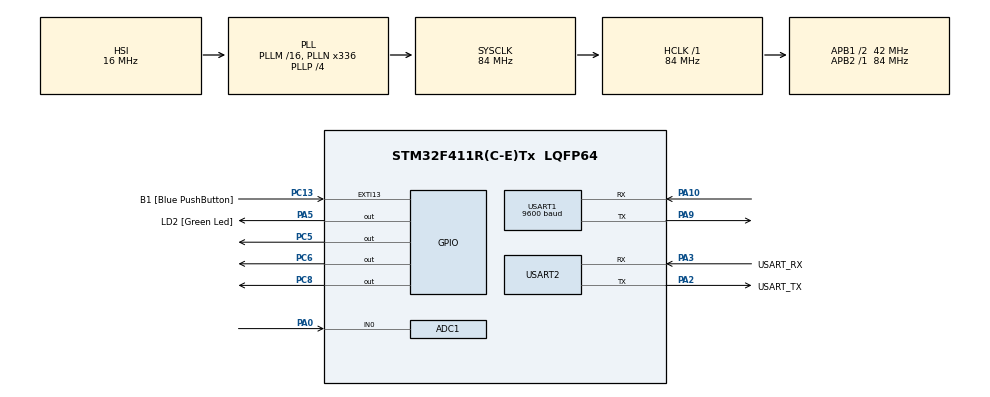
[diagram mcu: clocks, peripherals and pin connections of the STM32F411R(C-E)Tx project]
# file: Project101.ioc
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ADC1.Channel-0\#ChannelRegularConversion=ADC_CHANNEL_0
ADC1.NbrOfConversionFlag=1
ADC1.Rank-0\#ChannelRegularConversion=1
ADC1.SamplingTime-0\#ChannelRegularConversion=ADC_SAMPLETIME_3CYCLES
ADC1.master=1
Mcu.Family=STM32F4
Mcu.Name=STM32F411R(C-E)Tx
Mcu.Package=LQFP64
NVIC.PriorityGroup=NVIC_PRIORITYGROUP_0
PA0-WKUP.Signal=ADCx_IN0
PA10.Mode=Asynchronous
PA10.Signal=USART1_RX
PA13.GPIO_Label=TMS
PA13.Mode=Serial_Wire
PA13.Signal=SYS_JTMS-SWDIO
PA14.GPIO_Label=TCK
PA14.Mode=Serial_Wire
PA14.Signal=SYS_JTCK-SWCLK
PA2.GPIO_Label=USART_TX
PA2.Mode=Asynchronous
PA2.Signal=USART2_TX
PA3.GPIO_Label=USART_RX
PA3.Mode=Asynchronous
PA3.Signal=USART2_RX
PA5.GPIO_Label=LD2 [Green Led]
PA5.Signal=GPIO_Output
PA9.Mode=Asynchronous
PA9.Signal=USART1_TX
PB3.GPIO_Label=SWO
PB3.Signal=SYS_JTDO-SWO
PC13-ANTI_TAMP.GPIO_Label=B1 [Blue PushButton]
PC13-ANTI_TAMP.GPIO_ModeDefaultEXTI=GPIO_MODE_IT_FALLING
PC13-ANTI_TAMP.Signal=GPXTI13
PC14-OSC32_IN.Mode=LSE-External-Oscillator
PC14-OSC32_IN.Signal=RCC_OSC32_IN
PC15-OSC32_OUT.Mode=LSE-External-Oscillator
PC15-OSC32_OUT.Signal=RCC_OSC32_OUT
PC5.Signal=GPIO_Output
PC6.Signal=GPIO_Output
PC8.Signal=GPIO_Output
PH0\ -\ OSC_IN.Mode=HSE-External-Clock-Source
PH0\ -\ OSC_IN.Signal=RCC_OSC_IN
PH1\ -\ OSC_OUT.Mode=HSE-External-Clock-Source
PH1\ -\ OSC_OUT.Signal=RCC_OSC_OUT
ProjectManager.HeapSize=0x200
ProjectManager.StackSize=0x400
ProjectManager.TargetToolchain=STM32CubeIDE
RCC.48MHZClocksFreq_Value=84000000
RCC.AHBFreq_Value=84000000
RCC.APB1CLKDivider=RCC_HCLK_DIV2
RCC.APB1Freq_Value=42000000
RCC.APB1TimFreq_Value=84000000
RCC.APB2Freq_Value=84000000
RCC.APB2TimFreq_Value=84000000
RCC.CortexFreq_Value=84000000
RCC.FLatency-AdvancedSettings=FLASH_LATENCY_2
RCC.HCLKFreq_Value=84000000
RCC.HSE_VALUE=8000000
RCC.HSI_VALUE=16000000
RCC.PLLN=336
RCC.PLLP=RCC_PLLP_DIV4
RCC.SYSCLKFreq_VALUE=84000000
RCC.SYSCLKSource=RCC_SYSCLKSOURCE_PLLCLK
RCC.VCOOutputFreq_Value=336000000
SH.ADCx_IN0.0=ADC1_IN0,IN0
TIM1.Prescaler=84-1
USART1.BaudRate=9600
USART1.VirtualMode=VM_ASYNC
USART2.VirtualMode=VM_ASYNC
VP_TIM1_VS_ClockSourceINT.Mode=Internal
board=NUCLEO-F411RE

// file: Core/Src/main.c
/* USER CODE BEGIN Header */
/**
 ******************************************************************************
 * @file           : main.c
 * @brief          : Main program body
 ******************************************************************************
 * @attention
 *
 * Copyright (c) 2023 STMicroelectronics.
 * All rights reserved.
 *
 * This software is licensed under terms that can be found in the LICENSE file
 * in the root directory of this software component.
 * If no LICENSE file comes with this software, it is provided AS-IS.
 *
 ******************************************************************************
 */
/* USER CODE END Header */
#include "main.h"

ADC_HandleTypeDef hadc1;

TIM_HandleTypeDef htim1;

UART_HandleTypeDef huart1;
UART_HandleTypeDef huart2;

void SystemClock_Config(void);
static void MX_GPIO_Init(void);
static void MX_USART2_UART_Init(void);
static void MX_ADC1_Init(void);
static void MX_USART1_UART_Init(void);
static void MX_TIM1_Init(void);

/* USER CODE BEGIN 0 */
uint8_t h1, h2, t1, t2, response = 0;
uint16_t s, h, t;
int touch = 0, temp, humid, ldr;
uint32_t start;
#define DHT11_PORT GPIOA
#define DHT11_PIN GPIO_PIN_4

void delay(uint16_t time) {
	__HAL_TIM_SET_COUNTER(&htim1, 0);
	while (__HAL_TIM_GET_COUNTER(&htim1) < time)
		;
}

char str[10] = { 0 };

void Set_Pin_Output(GPIO_TypeDef *GPIOx, uint16_t GPIO_Pin) {
	GPIO_InitTypeDef GPIO_InitStruct = { 0 };
	GPIO_InitStruct.Pin = GPIO_Pin;
	GPIO_InitStruct.Mode = GPIO_MODE_OUTPUT_PP;
	GPIO_InitStruct.Speed = GPIO_SPEED_FREQ_LOW;
	HAL_GPIO_Init(GPIOx, &GPIO_InitStruct);
}

void Set_Pin_Input(GPIO_TypeDef *GPIOx, uint16_t GPIO_Pin) {
	GPIO_InitTypeDef GPIO_InitStruct = { 0 };
	GPIO_InitStruct.Pin = GPIO_Pin;
	GPIO_InitStruct.Mode = GPIO_MODE_INPUT;
	GPIO_InitStruct.Pull = GPIO_PULLUP;
	HAL_GPIO_Init(GPIOx, &GPIO_InitStruct);
}

void DHT11_Start(void) {
	Set_Pin_Output(DHT11_PORT, DHT11_PIN);  // set the pin as output
	HAL_GPIO_WritePin(DHT11_PORT, DHT11_PIN, 0);   // pull the pin low
	delay(18000);   // wait for 18ms
	HAL_GPIO_WritePin(DHT11_PORT, DHT11_PIN, 1);   // pull the pin high
	delay(20);  // wait for 20us
	Set_Pin_Input(DHT11_PORT, DHT11_PIN);    // set as input
}

uint8_t Check_Response(void) {
	uint8_t Response = 0;
	delay(40);
	if (!(HAL_GPIO_ReadPin(DHT11_PORT, DHT11_PIN))) {
		delay(80);
		if ((HAL_GPIO_ReadPin(DHT11_PORT, DHT11_PIN)))
			Response = 1;
		else
			Response = -1;
	}
	while ((HAL_GPIO_ReadPin(DHT11_PORT, DHT11_PIN)))
		;   // wait for the pin to go low

	return Response;
}

uint8_t DHT11_Read(void) {
	uint8_t i, j;
	for (j = 0; j < 8; j++) {
		while (!(HAL_GPIO_ReadPin(DHT11_PORT, DHT11_PIN)))
			;   // wait for the pin to go high
		delay(40);   // wait for 40 us
		if (!(HAL_GPIO_ReadPin(DHT11_PORT, DHT11_PIN)))   // if the pin is low
		{
			i &= ~(1 << (7 - j));   // write 0
		} else
			i |= (1 << (7 - j));  // if the pin is high, write 1
		while ((HAL_GPIO_ReadPin(DHT11_PORT, DHT11_PIN)))
			;  // wait for the pin to go low
	}
	return i;
}

void check_state(int temp, int humid){
	HAL_GPIO_WritePin(GPIOC, GPIO_PIN_8, GPIO_PIN_RESET);
	HAL_GPIO_WritePin(GPIOC, GPIO_PIN_6, GPIO_PIN_RESET);
	HAL_GPIO_WritePin(GPIOC, GPIO_PIN_5, GPIO_PIN_RESET);
	int state = 0;
	if(temp >= 40) state += 1;
	if(humid >= 30 && humid <= 50) state += 1;
//	char s[1];
//	sprintf(s, "%d", state);
//	HAL_UART_Transmit(&huart2, &s, 1, HAL_MAX_DELAY);
//	HAL_UART_Transmit(&huart2, 'OK', 2, HAL_MAX_DELAY);
	if(state == 0) HAL_GPIO_WritePin(GPIOC, GPIO_PIN_8, GPIO_PIN_SET);
	if(state == 1) HAL_GPIO_WritePin(GPIOC, GPIO_PIN_6, GPIO_PIN_SET);
	if(state == 2) HAL_GPIO_WritePin(GPIOC, GPIO_PIN_5, GPIO_PIN_SET);
}

/* USER CODE END 0 */

int main(void)
{

  /* MCU Configuration--------------------------------------------------------*/

  /* Reset of all peripherals, Initializes the Flash interface and the Systick. */
  HAL_Init();

  /* Configure the system clock */
  SystemClock_Config();

  /* Initialize all configured peripherals */
  MX_GPIO_Init();
  MX_USART2_UART_Init();
  MX_ADC1_Init();
  MX_USART1_UART_Init();
  MX_TIM1_Init();
  /* USER CODE BEGIN 2 */

	HAL_TIM_Base_Start_IT(&htim1);
  /* USER CODE END 2 */

  /* Infinite loop */
	while (1) {

    /* USER CODE BEGIN 3 */
		char buffer[50];
		uint32_t now = HAL_GetTick();
		DHT11_Start();
		response = Check_Response();

		h1 = DHT11_Read(); // problem infinite loop
		h2 = DHT11_Read();
		t1 = DHT11_Read();
		t2 = DHT11_Read();
		s = DHT11_Read();

		temp = t1;
		humid = h1;

		ldr = 0;
		HAL_ADC_Start(&hadc1);
		if (HAL_ADC_PollForConversion(&hadc1, 1000000) == HAL_OK) {
			ldr = HAL_ADC_GetValue(&hadc1);
		}

		if(ldr <= 2000 && touch == 0){
			touch = 1;
			check_state(temp, humid);
			start = HAL_GetTick();
		}
		else if(touch == 1 && now-start >= 10000){
			HAL_GPIO_WritePin(GPIOC, GPIO_PIN_8, GPIO_PIN_RESET);
			HAL_GPIO_WritePin(GPIOC, GPIO_PIN_6, GPIO_PIN_RESET);
			HAL_GPIO_WritePin(GPIOC, GPIO_PIN_5, GPIO_PIN_RESET);
			touch = 0;
		}

		sprintf(buffer, "L%dT%dH%d \r\n", ldr, temp, humid);
		HAL_UART_Transmit(&huart1, &buffer, strlen(buffer), HAL_MAX_DELAY);
		HAL_UART_Transmit(&huart2, &buffer, strlen(buffer), HAL_MAX_DELAY);

		HAL_Delay(1000);

	}
  /* USER CODE END 3 */
}

void SystemClock_Config(void)
{
  RCC_OscInitTypeDef RCC_OscInitStruct = {0};
  RCC_ClkInitTypeDef RCC_ClkInitStruct = {0};

  /** Configure the main internal regulator output voltage
  */
  __HAL_RCC_PWR_CLK_ENABLE();
  __HAL_PWR_VOLTAGESCALING_CONFIG(PWR_REGULATOR_VOLTAGE_SCALE1);

  /** Initializes the RCC Oscillators according to the specified parameters
  * in the RCC_OscInitTypeDef structure.
  */
  RCC_OscInitStruct.OscillatorType = RCC_OSCILLATORTYPE_HSI;
  RCC_OscInitStruct.HSIState = RCC_HSI_ON;
  RCC_OscInitStruct.HSICalibrationValue = RCC_HSICALIBRATION_DEFAULT;
  RCC_OscInitStruct.PLL.PLLState = RCC_PLL_ON;
  RCC_OscInitStruct.PLL.PLLSource = RCC_PLLSOURCE_HSI;
  RCC_OscInitStruct.PLL.PLLM = 16;
  RCC_OscInitStruct.PLL.PLLN = 336;
  RCC_OscInitStruct.PLL.PLLP = RCC_PLLP_DIV4;
  RCC_OscInitStruct.PLL.PLLQ = 4;
  if (HAL_RCC_OscConfig(&RCC_OscInitStruct) != HAL_OK)
  {
    Error_Handler();
  }

  /** Initializes the CPU, AHB and APB buses clocks
  */
  RCC_ClkInitStruct.ClockType = RCC_CLOCKTYPE_HCLK|RCC_CLOCKTYPE_SYSCLK
                              |RCC_CLOCKTYPE_PCLK1|RCC_CLOCKTYPE_PCLK2;
  RCC_ClkInitStruct.SYSCLKSource = RCC_SYSCLKSOURCE_PLLCLK;
  RCC_ClkInitStruct.AHBCLKDivider = RCC_SYSCLK_DIV1;
  RCC_ClkInitStruct.APB1CLKDivider = RCC_HCLK_DIV2;
  RCC_ClkInitStruct.APB2CLKDivider = RCC_HCLK_DIV1;

  if (HAL_RCC_ClockConfig(&RCC_ClkInitStruct, FLASH_LATENCY_2) != HAL_OK)
  {
    Error_Handler();
  }
}

static void MX_ADC1_Init(void)
{

  ADC_ChannelConfTypeDef sConfig = {0};

  /** Configure the global features of the ADC (Clock, Resolution, Data Alignment and number of conversion)
  */
  hadc1.Instance = ADC1;
  hadc1.Init.ClockPrescaler = ADC_CLOCK_SYNC_PCLK_DIV4;
  hadc1.Init.Resolution = ADC_RESOLUTION_12B;
  hadc1.Init.ScanConvMode = DISABLE;
  hadc1.Init.ContinuousConvMode = DISABLE;
  hadc1.Init.DiscontinuousConvMode = DISABLE;
  hadc1.Init.ExternalTrigConvEdge = ADC_EXTERNALTRIGCONVEDGE_NONE;
  hadc1.Init.ExternalTrigConv = ADC_SOFTWARE_START;
  hadc1.Init.DataAlign = ADC_DATAALIGN_RIGHT;
  hadc1.Init.NbrOfConversion = 1;
  hadc1.Init.DMAContinuousRequests = DISABLE;
  hadc1.Init.EOCSelection = ADC_EOC_SINGLE_CONV;
  if (HAL_ADC_Init(&hadc1) != HAL_OK)
  {
    Error_Handler();
  }

  /** Configure for the selected ADC regular channel its corresponding rank in the sequencer and its sample time.
  */
  sConfig.Channel = ADC_CHANNEL_0;
  sConfig.Rank = 1;
  sConfig.SamplingTime = ADC_SAMPLETIME_3CYCLES;
  if (HAL_ADC_ConfigChannel(&hadc1, &sConfig) != HAL_OK)
  {
    Error_Handler();
  }

}

static void MX_TIM1_Init(void)
{

  TIM_ClockConfigTypeDef sClockSourceConfig = {0};
  TIM_MasterConfigTypeDef sMasterConfig = {0};

  htim1.Instance = TIM1;
  htim1.Init.Prescaler = 84-1;
  htim1.Init.CounterMode = TIM_COUNTERMODE_UP;
  htim1.Init.Period = 65535;
  htim1.Init.ClockDivision = TIM_CLOCKDIVISION_DIV1;
  htim1.Init.RepetitionCounter = 0;
  htim1.Init.AutoReloadPreload = TIM_AUTORELOAD_PRELOAD_DISABLE;
  if (HAL_TIM_Base_Init(&htim1) != HAL_OK)
  {
    Error_Handler();
  }
  sClockSourceConfig.ClockSource = TIM_CLOCKSOURCE_INTERNAL;
  if (HAL_TIM_ConfigClockSource(&htim1, &sClockSourceConfig) != HAL_OK)
  {
    Error_Handler();
  }
  sMasterConfig.MasterOutputTrigger = TIM_TRGO_RESET;
  sMasterConfig.MasterSlaveMode = TIM_MASTERSLAVEMODE_DISABLE;
  if (HAL_TIMEx_MasterConfigSynchronization(&htim1, &sMasterConfig) != HAL_OK)
  {
    Error_Handler();
  }

}

static void MX_USART1_UART_Init(void)
{

  huart1.Instance = USART1;
  huart1.Init.BaudRate = 9600;
  huart1.Init.WordLength = UART_WORDLENGTH_8B;
  huart1.Init.StopBits = UART_STOPBITS_1;
  huart1.Init.Parity = UART_PARITY_NONE;
  huart1.Init.Mode = UART_MODE_TX_RX;
  huart1.Init.HwFlowCtl = UART_HWCONTROL_NONE;
  huart1.Init.OverSampling = UART_OVERSAMPLING_16;
  if (HAL_UART_Init(&huart1) != HAL_OK)
  {
    Error_Handler();
  }

}

static void MX_USART2_UART_Init(void)
{

  huart2.Instance = USART2;
  huart2.Init.BaudRate = 115200;
  huart2.Init.WordLength = UART_WORDLENGTH_8B;
  huart2.Init.StopBits = UART_STOPBITS_1;
  huart2.Init.Parity = UART_PARITY_NONE;
  huart2.Init.Mode = UART_MODE_TX_RX;
  huart2.Init.HwFlowCtl = UART_HWCONTROL_NONE;
  huart2.Init.OverSampling = UART_OVERSAMPLING_16;
  if (HAL_UART_Init(&huart2) != HAL_OK)
  {
    Error_Handler();
  }

}

static void MX_GPIO_Init(void)
{
  GPIO_InitTypeDef GPIO_InitStruct = {0};

  /* GPIO Ports Clock Enable */
  __HAL_RCC_GPIOC_CLK_ENABLE();
  __HAL_RCC_GPIOH_CLK_ENABLE();
  __HAL_RCC_GPIOA_CLK_ENABLE();
  __HAL_RCC_GPIOB_CLK_ENABLE();

  /*Configure GPIO pin Output Level */
  HAL_GPIO_WritePin(LD2_GPIO_Port, LD2_Pin, GPIO_PIN_RESET);

  /*Configure GPIO pin Output Level */
  HAL_GPIO_WritePin(GPIOC, GPIO_PIN_5|GPIO_PIN_6|GPIO_PIN_8, GPIO_PIN_RESET);

  /*Configure GPIO pin : B1_Pin */
  GPIO_InitStruct.Pin = B1_Pin;
  GPIO_InitStruct.Mode = GPIO_MODE_IT_FALLING;
  GPIO_InitStruct.Pull = GPIO_NOPULL;
  HAL_GPIO_Init(B1_GPIO_Port, &GPIO_InitStruct);

  /*Configure GPIO pin : LD2_Pin */
  GPIO_InitStruct.Pin = LD2_Pin;
  GPIO_InitStruct.Mode = GPIO_MODE_OUTPUT_PP;
  GPIO_InitStruct.Pull = GPIO_NOPULL;
  GPIO_InitStruct.Speed = GPIO_SPEED_FREQ_LOW;
  HAL_GPIO_Init(LD2_GPIO_Port, &GPIO_InitStruct);

  /*Configure GPIO pins : PC5 PC6 PC8 */
  GPIO_InitStruct.Pin = GPIO_PIN_5|GPIO_PIN_6|GPIO_PIN_8;
  GPIO_InitStruct.Mode = GPIO_MODE_OUTPUT_PP;
  GPIO_InitStruct.Pull = GPIO_NOPULL;
  GPIO_InitStruct.Speed = GPIO_SPEED_FREQ_LOW;
  HAL_GPIO_Init(GPIOC, &GPIO_InitStruct);

}

void Error_Handler(void)
{
	__disable_irq();
	while (1) {
	}
}
